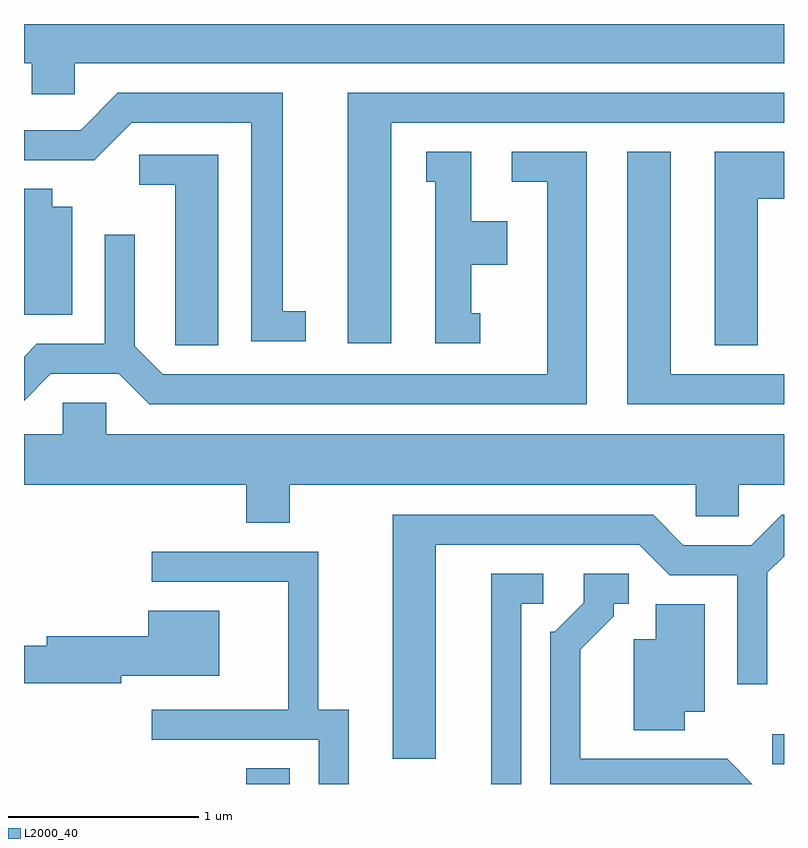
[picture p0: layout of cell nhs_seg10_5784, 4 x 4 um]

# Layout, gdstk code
import gdstk
lib = gdstk.Library(unit=1e-6, precision=1e-09)
def R(c, l, rs):  # rectangles x0, y0, x1, y1
    for r in rs: c.add(gdstk.rectangle(r[:2], r[2:], *l))
def P(c, l, *ps):  # polygons
    for p in ps: c.add(gdstk.Polygon(p, *l))
L2000_40 = (2000, 40)

nhs_seg10_5784 = lib.new_cell('nhs_seg10_5784')
R(nhs_seg10_5784, L2000_40, [(356.781,2154.522,357.009,2154.604), (359.548,2154.626,359.611,2154.784)])
P(nhs_seg10_5784, L2000_40, [(355.879,2158.316),(359.611,2158.316),(359.611,2158.522),(355.611,2158.522),(355.611,2158.316),(355.651,2158.316),(355.651,2158.151),(355.879,2158.151)],
  [(357.544,2158.001),(359.611,2158.001),(359.611,2158.159),(357.316,2158.159),(357.316,2156.841),(357.544,2156.841)],
  [(357.093,2157.009),(356.974,2157.009),(356.974,2158.159),(356.104,2158.159),(355.909,2157.964),(355.611,2157.964),(355.611,2157.806),(355.982,2157.806),(356.177,2158.001),(356.806,2158.001),(356.806,2156.851),(357.093,2156.851)],
  [(359.474,2157.601),(359.611,2157.601),(359.611,2157.849),(359.246,2157.849),(359.246,2156.831),(359.474,2156.831)],
  [(358.013,2156.999),(357.964,2156.999),(357.964,2157.256),(358.154,2157.256),(358.154,2157.484),(357.964,2157.484),(357.964,2157.849),(357.728,2157.849),(357.728,2157.691),(357.776,2157.691),(357.776,2156.841),(358.013,2156.841)],
  [(359.611,2156.679),(359.014,2156.679),(359.014,2157.849),(358.786,2157.849),(358.786,2156.521),(359.611,2156.521)],
  [(358.574,2157.849),(358.178,2157.849),(358.178,2157.691),(358.366,2157.691),(358.366,2156.679),(356.342,2156.679),(356.194,2156.827),(356.194,2157.413),(356.036,2157.413),(356.036,2156.839),(355.679,2156.839),(355.611,2156.771),(355.611,2156.54),(355.752,2156.681),(356.109,2156.681),(356.269,2156.521),(358.574,2156.521)],
  [(356.634,2157.834),(356.218,2157.834),(356.218,2157.676),(356.406,2157.676),(356.406,2156.831),(356.634,2156.831)],
  [(355.864,2157.559),(355.759,2157.559),(355.759,2157.654),(355.611,2157.654),(355.611,2156.991),(355.864,2156.991)],
  [(355.816,2156.529),(355.816,2156.364),(355.611,2156.364),(355.611,2156.096),(356.781,2156.096),(356.781,2155.896),(357.009,2155.896),(357.009,2156.096),(359.146,2156.096),(359.146,2155.931),(359.374,2155.931),(359.374,2156.096),(359.611,2156.096),(359.611,2156.364),(356.044,2156.364),(356.044,2156.529)],
  [(357.779,2155.781),(358.849,2155.781),(359.009,2155.621),(359.366,2155.621),(359.366,2155.048),(359.524,2155.048),(359.524,2155.634),(359.611,2155.72),(359.611,2155.939),(359.599,2155.939),(359.439,2155.779),(359.082,2155.779),(358.922,2155.939),(357.551,2155.939),(357.551,2154.656),(357.779,2154.656)],
  [(357.319,2154.914),(357.159,2154.914),(357.159,2155.744),(356.283,2155.744),(356.283,2155.586),(357.001,2155.586),(357.001,2154.914),(356.283,2154.914),(356.283,2154.756),(357.161,2154.756),(357.161,2154.522),(357.319,2154.522)],
  [(359.312,2154.654),(358.539,2154.654),(358.539,2155.229),(358.714,2155.404),(358.714,2155.471),(358.793,2155.471),(358.793,2155.629),(358.556,2155.629),(358.556,2155.477),(358.404,2155.324),(358.381,2155.324),(358.381,2154.522),(359.444,2154.522)],
  [(358.229,2155.471),(358.343,2155.471),(358.343,2155.629),(358.071,2155.629),(358.071,2154.522),(358.229,2154.522)],
  [(359.089,2154.901),(359.194,2154.901),(359.194,2155.469),(358.936,2155.469),(358.936,2155.284),(358.821,2155.284),(358.821,2154.806),(359.089,2154.806)],
  [(356.124,2155.091),(356.639,2155.091),(356.639,2155.434),(356.266,2155.434),(356.266,2155.299),(355.731,2155.299),(355.731,2155.249),(355.611,2155.249),(355.611,2155.051),(356.124,2155.051)])

lib.write_gds('nhs_seg10_5784.gds')
